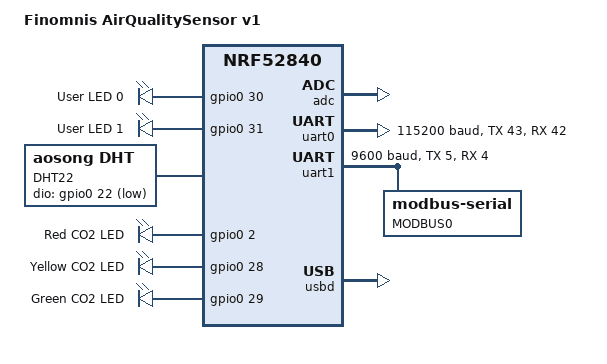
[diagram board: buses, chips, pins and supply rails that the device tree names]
/*
 * Copyright (c) 2021 Martin Stumpf
 *
 * SPDX-License-Identifier: Apache-2.0
 */

/dts-v1/;
#include <nordic/nrf52840_qiaa.dtsi>

/ {
    model = "Finomnis AirQualitySensor v1";
    compatible = "finomnis,airqualitysensor-v1";

    chosen {
        zephyr,console = &uart0;
        zephyr,shell-uart = &uart0;
        zephyr,uart-mcumgr = &uart0;
        zephyr,bt-mon-uart = &uart0;
        zephyr,bt-c2h-uart = &uart0;
        zephyr,sram = &sram0;
        zephyr,flash = &flash0;
        zephyr,code-partition = &slot0_partition;
        zephyr,entropy = &rng;
        senseair,s8-bus = &s8modbus;
    };

    leds {
        compatible = "gpio-leds";
        led0: led_0 {
            gpios = <&gpio0 30 0>;
            label = "User LED 0";
        };
        led1: led_1 {
            gpios = <&gpio0 31 0>;
            label = "User LED 1";
        };
    };

    dht22 {
        compatible = "aosong,dht";
        status = "okay";
        label = "DHT22";
        dio-gpios = <&gpio0 22 (GPIO_PULL_UP | GPIO_ACTIVE_LOW)>;
        dht22;
    };

    senseair_s8 {
        compatible = "senseair,s8";
        status = "okay";
        label = "SENSEAIR_S8";
    };

    leds_ui {
        compatible = "gpio-leds";
        label = "UI LEDs";
        status = "okay";

        led_co2_red: led_ui_0 {
            gpios = <&gpio0 2 GPIO_ACTIVE_HIGH>;
            label = "Red CO2 LED";
        };
        led_co2_yellow: led_ui_1 {
            gpios = <&gpio0 28 GPIO_ACTIVE_HIGH>;
            label = "Yellow CO2 LED";
        };
        led_co2_green: led_ui_2 {
            gpios = <&gpio0 29 GPIO_ACTIVE_HIGH>;
            label = "Green CO2 LED";
        };
    };

    /* These aliases are provided for compatibility with samples */
    aliases {
        led0 = &led0;
        led1 = &led1;
    };
};

&adc {
    status = "okay";
};

&gpiote {
    status = "okay";
};

&gpio0 {
    status = "okay";
};

&gpio1 {
    status = "okay";
};

&uart0 {
    compatible = "nordic,nrf-uarte";
    status = "okay";
    current-speed = <115200>;
    tx-pin = <43>;
    rx-pin = <42>;
};

&uart1 {
    status = "okay";
    tx-pin = <5>;
    rx-pin = <4>;
    current-speed = <9600>;

    s8modbus: modbus0 {
        compatible = "zephyr,modbus-serial";
        status = "okay";
        label = "MODBUS0";
    };
};

&flash0 {

    partitions {
        compatible = "fixed-partitions";
        #address-cells = <1>;
        #size-cells = <1>;

        boot_partition: partition@0 {
            label = "mcuboot";
            reg = <0x000000000 0x0000C000>;
        };
        slot0_partition: partition@c000 {
            label = "image-0";
            reg = <0x0000C000 0x00067000>;
        };
        slot1_partition: partition@73000 {
            label = "image-1";
            reg = <0x00073000 0x00067000>;
        };
        scratch_partition: partition@da000 {
            label = "image-scratch";
            reg = <0x000da000 0x0001e000>;
        };

        /*
         * The flash starting at 0x000f8000 and ending at
         * 0x000fffff is reserved for use by the application.
         */

        /*
         * Storage partition will be used by FCB/LittleFS/NVS
         * if enabled.
         */
        storage_partition: partition@f8000 {
            label = "storage";
            reg = <0x000f8000 0x00008000>;
        };
    };
};

&usbd {
    compatible = "nordic,nrf-usbd";
    status = "okay";
};
